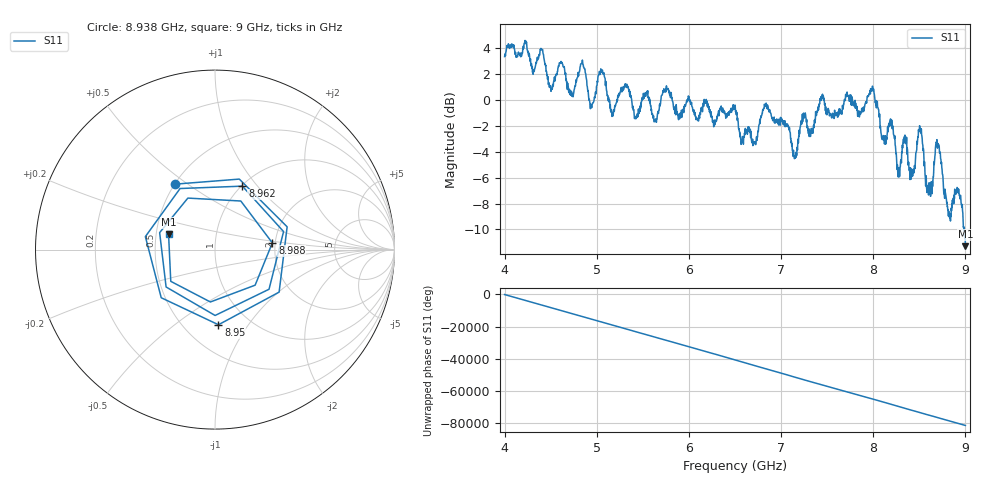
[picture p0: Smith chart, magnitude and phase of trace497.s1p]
! Created with skrf 1.8.0 (http://scikit-rf.org).
# Hz S RI R 50.0
!freq ReS11 ImS11
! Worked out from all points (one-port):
!   1601 points, 4 GHz to 9 GHz, reference 50 ohm
!   lowest |S11| = -11.3 dB at 9 GHz (marker M1), VSWR 1.75, Z = 29.1 + j5.41 ohm
!   |S11| at or under -10 dB: 8.98235 GHz to 8.986584 GHz (4.234 MHz wide, 0.0471 % of centre); 8.988695 GHz to end of sweep
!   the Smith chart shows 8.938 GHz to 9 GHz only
!   S11 on the Smith chart (normalised r, x): 8.938 GHz: 0.50, +0.45; 8.95 GHz: 0.72, -0.74; 8.962 GHz: 1.01, +0.84; 8.988 GHz: 1.93, +0.16; 9 GHz: 0.58, +0.11
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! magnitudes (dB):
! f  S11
! 4 GHz  3.4
! 4.625 GHz  2.8
! 4.725 GHz  0.7
! 4.847 GHz  2.9
! 4.941 GHz  -0.5
! 5.047 GHz  2.1
! 5.169 GHz  -1.0
! 5.25 GHz  0.5
! 5.875 GHz  -1.1
! 6.5 GHz  -0.4
! 6.703 GHz  -3.2
! 6.841 GHz  -0.4
! 7.125 GHz  -3.9
! 7.441 GHz  0.2
! 7.75 GHz  0.1
! 7.988 GHz  0.9
! 8.272 GHz  -6.0
! 8.375 GHz  -4.6
! 8.431 GHz  -5.6
! 8.509 GHz  -2.3
! 8.6 GHz  -7.3
! 8.7 GHz  -3.3
! 8.819 GHz  -8.6
! 8.938 GHz  -7.4
! 8.95 GHz  -7.6
! 8.962 GHz  -8.3
! 8.988 GHz  -9.9
! 9 GHz  -11.3
